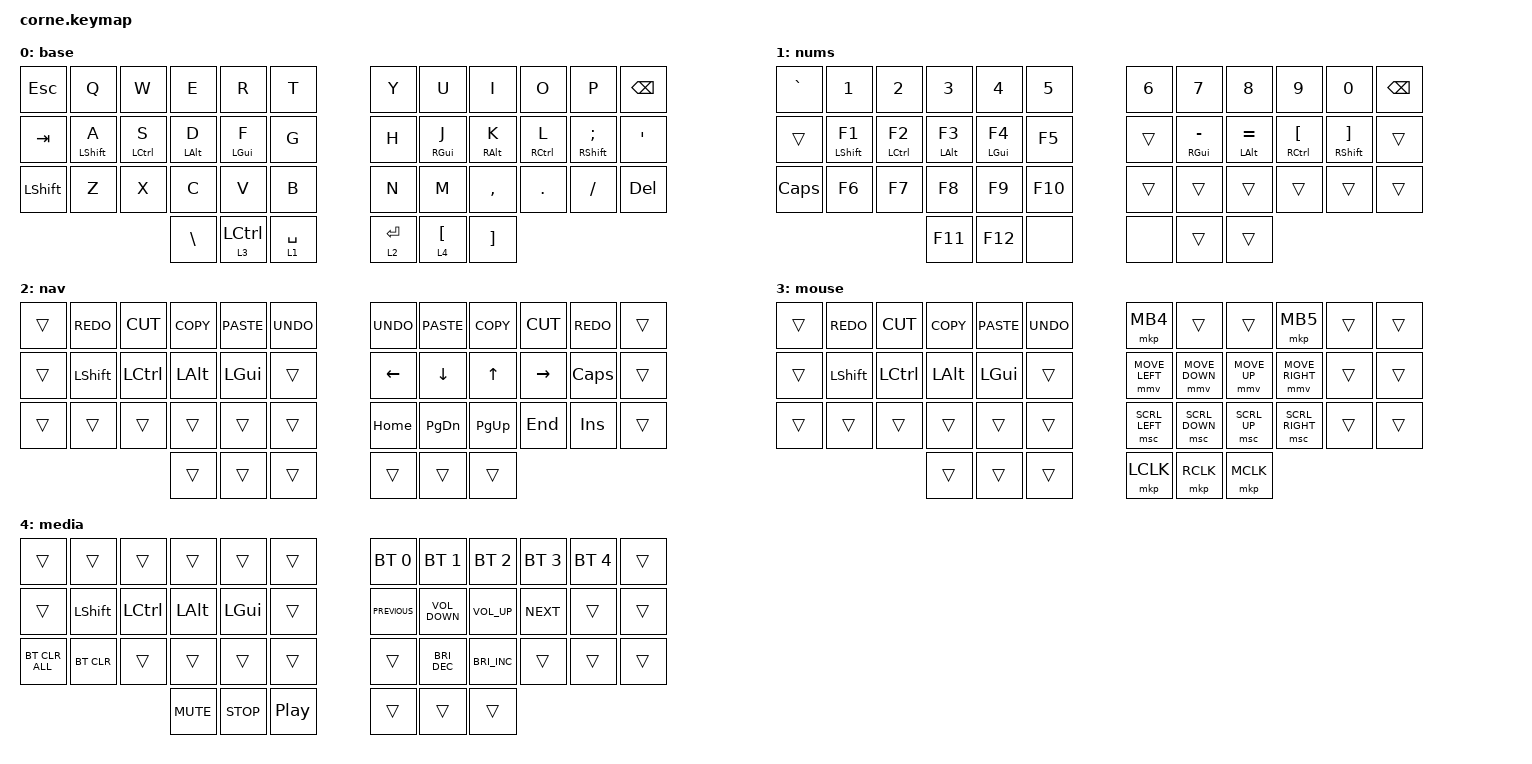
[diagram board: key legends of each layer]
/*
 * Copyright (c) 2020 The ZMK Contributors
 *
 * SPDX-License-Identifier: MIT
 */

#define ZMK_POINTING_DEFAULT_MOVE_VAL 1500  // default: 600
#define ZMK_POINTING_DEFAULT_SCRL_VAL 20    // default: 10

#include <behaviors.dtsi>
#include <dt-bindings/zmk/bt.h>
#include <dt-bindings/zmk/keys.h>
#include <dt-bindings/zmk/pointing.h>

/ {
    combos {
        compatible = "zmk,combos";

        combo_game {
            bindings = <&tog 0>;
            key-positions = <36 41>;
            timeout-ms = <200>;
        };

        game_esc {
            bindings = <&kp ESC>;
            key-positions = <1 2>;
        };
    };

    behaviors {
        hml: hml {
            compatible = "zmk,behavior-hold-tap";
            label = "HML";
            bindings = <&kp>, <&kp>;

            #binding-cells = <2>;
            tapping-term-ms = <220>;
            quick-tap-ms = <175>;
            flavor = "balanced";
            require-prior-idle-ms = <100>;
            hold-trigger-key-positions = <39 40 41 30 18 6 7 9 10 11 18 19 20 21 22 23 30 31 32 33 34 35 40 41 8 36 37 38>;
            hold-trigger-on-release;
        };

        hmr: hmr {
            compatible = "zmk,behavior-hold-tap";
            label = "HMR";
            bindings = <&kp>, <&kp>;

            #binding-cells = <2>;
            tapping-term-ms = <220>;
            quick-tap-ms = <175>;
            require-prior-idle-ms = <100>;
            flavor = "balanced";
            hold-trigger-key-positions = <0 1 2 3 4 5 12 13 14 15 16 17 24 25 26 27 28 29 36 37 38 39 40 41>;
            hold-trigger-on-release;
        };

        tkl: tkl {
            compatible = "zmk,behavior-hold-tap";
            label = "TKL";
            bindings = <&mo>, <&kp>;

            #binding-cells = <2>;
            tapping-term-ms = <220>;
            quick-tap-ms = <175>;
            flavor = "balanced";
            require-prior-idle-ms = <100>;
            hold-trigger-key-positions = <39 40 41 30 18 6 7 9 10 11 18 19 20 21 22 23 30 31 32 33 34 35 40 41 8 38 37 36>;
            hold-trigger-on-release;
        };

        tkr: tkr {
            compatible = "zmk,behavior-hold-tap";
            label = "TKR";
            bindings = <&mo>, <&kp>;

            #binding-cells = <2>;
            tapping-term-ms = <220>;
            quick-tap-ms = <175>;
            require-prior-idle-ms = <100>;
            flavor = "balanced";
            hold-trigger-key-positions = <0 1 2 3 4 5 12 13 14 15 16 17 24 25 26 27 28 29 36 37 38 39 40 41>;
            hold-trigger-on-release;
        };
    };

    keymap {
        compatible = "zmk,keymap";

        base {
            // -----------------------------------------------------------------------------------------
            // |  TAB |  Q  |  W  |  E  |  R  |  T  |   |  Y  |  U   |  I  |  O  |  P  | BKSP |
            // | CTRL |  A  |  S  |  D  |  F  |  G  |   |  H  |  J   |  K  |  L  |  ;  |  '   |
            // | SHFT |  Z  |  X  |  C  |  V  |  B  |   |  N  |  M   |  ,  |  .  |  /  | ESC  |
            //                    | GUI | LWR | SPC |   | ENT | RSE  | ALT |

            bindings = <
&kp ESCAPE      &kp Q          &kp W         &kp E          &kp R         &kp T           &kp Y         &kp U                &kp I              &kp O         &kp P             &kp BACKSPACE
&kp TAB         &hml LSHIFT A  &hml LCTRL S  &hml LALT D    &hml LGUI F   &kp G           &kp H         &hmr RGUI J          &hmr RALT K        &hmr RCTRL L  &hmr RSHIFT SEMI  &kp APOS
&kp LEFT_SHIFT  &kp Z          &kp X         &kp C          &kp V         &kp B           &kp N         &kp M                &kp COMMA          &kp DOT       &kp FSLH          &kp DELETE
                                             &kp BACKSLASH  &tkl 3 LCTRL  &tkl 1 SPACE    &tkr 2 ENTER  &tkr 4 LEFT_BRACKET  &kp RIGHT_BRACKET
            >;
        };

        nums {
            bindings = <
&kp GRAVE     &kp NUMBER_1    &kp NUMBER_2   &kp NUMBER_3  &kp NUMBER_4  &kp NUMBER_5    &kp NUMBER_6  &kp NUMBER_7     &kp NUMBER_8     &kp NUMBER_9             &kp NUMBER_0               &kp BACKSPACE
&trans        &hml LSHIFT F1  &hml LCTRL F2  &hml LALT F3  &hml LGUI F4  &kp F5          &trans        &hmr RGUI MINUS  &hml LALT EQUAL  &hmr RCTRL LEFT_BRACKET  &hmr RSHIFT RIGHT_BRACKET  &trans
&kp CAPSLOCK  &kp F6          &kp F7         &kp F8        &kp F9        &kp F10         &trans        &trans           &trans           &trans                   &trans                     &trans
                                             &kp F11       &kp F12       &none           &none         &trans           &trans
            >;
        };

        nav {
            bindings = <
&trans  &kp K_REDO  &kp K_CUT  &kp K_COPY  &kp K_PASTE  &kp K_UNDO    &kp K_UNDO      &kp K_PASTE     &kp K_COPY    &kp K_CUT  &kp K_REDO    &trans
&trans  &kp LSHIFT  &kp LCTRL  &kp LALT    &kp LGUI     &trans        &kp LEFT_ARROW  &kp DOWN_ARROW  &kp UP_ARROW  &kp RIGHT  &kp CAPSLOCK  &trans
&trans  &trans      &trans     &trans      &trans       &trans        &kp HOME        &kp PAGE_DOWN   &kp PAGE_UP   &kp END    &kp INSERT    &trans
                               &trans      &trans       &trans        &trans          &trans          &trans
            >;
        };

        mouse {
            bindings = <
&trans  &kp K_REDO  &kp K_CUT  &kp K_COPY  &kp K_PASTE  &kp K_UNDO    &mkp MB4        &trans          &trans        &mkp MB5         &trans  &trans
&trans  &kp LSHIFT  &kp LCTRL  &kp LALT    &kp LGUI     &trans        &mmv MOVE_LEFT  &mmv MOVE_DOWN  &mmv MOVE_UP  &mmv MOVE_RIGHT  &trans  &trans
&trans  &trans      &trans     &trans      &trans       &trans        &msc SCRL_LEFT  &msc SCRL_DOWN  &msc SCRL_UP  &msc SCRL_RIGHT  &trans  &trans
                               &trans      &trans       &trans        &mkp LCLK       &mkp RCLK       &mkp MCLK
            >;
        };

        media {
            bindings = <
&trans          &trans      &trans     &trans      &trans      &trans              &bt BT_SEL 0    &bt BT_SEL 1       &bt BT_SEL 2     &bt BT_SEL 3  &bt BT_SEL 4  &trans
&trans          &kp LSHIFT  &kp LCTRL  &kp LALT    &kp LGUI    &trans              &kp C_PREVIOUS  &kp C_VOLUME_DOWN  &kp C_VOLUME_UP  &kp C_NEXT    &trans        &trans
&bt BT_CLR_ALL  &bt BT_CLR  &trans     &trans      &trans      &trans              &trans          &kp C_BRI_DEC      &kp C_BRI_INC    &trans        &trans        &trans
                                       &kp K_MUTE  &kp C_STOP  &kp C_PLAY_PAUSE    &trans          &trans             &trans
            >;
        };
    };
};
